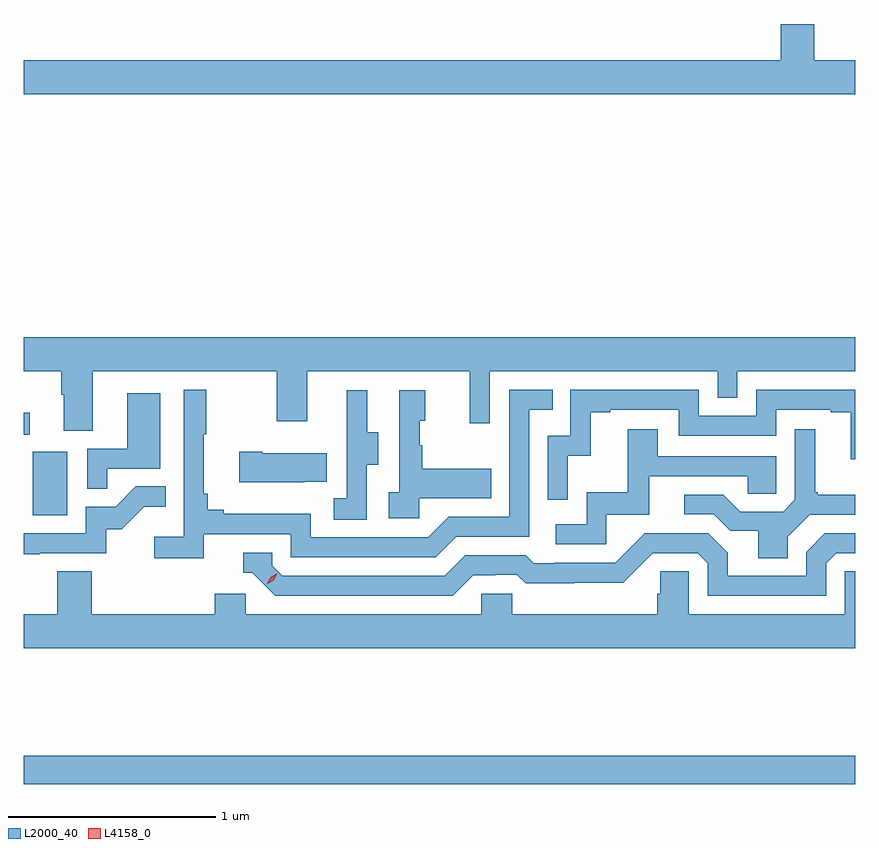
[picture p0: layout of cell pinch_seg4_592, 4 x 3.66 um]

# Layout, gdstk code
import gdstk
lib = gdstk.Library(unit=1e-6, precision=1e-09)
def R(c, l, rs):  # rectangles x0, y0, x1, y1
    for r in rs: c.add(gdstk.rectangle(r[:2], r[2:], *l))
def P(c, l, *ps):  # polygons
    for p in ps: c.add(gdstk.Polygon(p, *l))
L2000_40 = (2000, 40)
L4158_0 = (4158, 0)

pinch_seg4_592 = lib.new_cell('pinch_seg4_592')
R(pinch_seg4_592, L2000_40, [(1065.263,780.184,1069.263,780.32), (1065.308,781.476,1065.472,781.783), (1065.263,781.863,1065.292,781.969)])
P(pinch_seg4_592, L2000_40, [(1069.263,783.664),(1069.065,783.664),(1069.065,783.839),(1068.905,783.839),(1068.905,783.664),(1065.263,783.664),(1065.263,783.5),(1069.263,783.5)],
  [(1065.595,782.168),(1066.48,782.168),(1066.48,781.929),(1066.627,781.929),(1066.627,782.168),(1067.408,782.168),(1067.408,781.92),(1067.505,781.92),(1067.505,782.168),(1068.6,782.168),(1068.6,782.041),(1068.696,782.041),(1068.696,782.168),(1069.263,782.168),(1069.263,782.332),(1065.263,782.332),(1065.263,782.168),(1065.443,782.168),(1065.443,782.056),(1065.455,782.056),(1065.455,781.882),(1065.595,781.882)],
  [(1066.13,781.386),(1066.548,781.386),(1066.548,781.275),(1067.245,781.275),(1067.344,781.374),(1067.694,781.374),(1067.694,781.983),(1067.807,781.983),(1067.807,782.079),(1067.598,782.079),(1067.598,781.47),(1067.307,781.47),(1067.208,781.371),(1066.644,781.371),(1066.644,781.483),(1066.225,781.483),(1066.225,781.502),(1066.148,781.502),(1066.148,781.579),(1066.129,781.579),(1066.129,781.867),(1066.141,781.867),(1066.141,782.08),(1066.032,782.08),(1066.032,781.372),(1065.891,781.372),(1065.891,781.27),(1066.13,781.27)],
  [(1067.88,781.763),(1067.99,781.763),(1067.99,781.971),(1068.085,781.971),(1068.085,781.983),(1068.414,781.983),(1068.414,781.86),(1068.882,781.86),(1068.882,781.983),(1069.145,781.983),(1069.145,781.971),(1069.241,781.971),(1069.241,781.745),(1069.263,781.745),(1069.263,782.079),(1068.786,782.079),(1068.786,781.956),(1068.51,781.956),(1068.51,782.079),(1067.892,782.079),(1067.892,781.86),(1067.784,781.86),(1067.784,781.551),(1067.88,781.551)],
  [(1066.914,781.72),(1066.969,781.72),(1066.969,781.875),(1066.915,781.875),(1066.915,782.077),(1066.817,782.077),(1066.817,781.863),(1066.818,781.863),(1066.818,781.559),(1066.755,781.559),(1066.755,781.456),(1066.914,781.456)],
  [(1067.166,781.559),(1067.513,781.559),(1067.513,781.699),(1067.179,781.699),(1067.179,781.814),(1067.169,781.814),(1067.169,781.932),(1067.194,781.932),(1067.194,782.077),(1067.07,782.077),(1067.07,781.586),(1067.019,781.586),(1067.019,781.461),(1067.166,781.461)],
  [(1065.665,781.701),(1065.919,781.701),(1065.919,782.062),(1065.761,782.062),(1065.761,781.797),(1065.57,781.797),(1065.57,781.603),(1065.665,781.603)],
  [(1068.066,781.479),(1068.271,781.479),(1068.271,781.665),(1068.745,781.665),(1068.745,781.581),(1068.882,781.581),(1068.882,781.761),(1068.313,781.761),(1068.313,781.891),(1068.169,781.891),(1068.169,781.588),(1067.97,781.588),(1067.97,781.434),(1067.823,781.434),(1067.823,781.338),(1068.066,781.338)],
  [(1068.937,781.372),(1069.044,781.479),(1069.263,781.479),(1069.263,781.576),(1069.081,781.576),(1069.081,781.588),(1069.069,781.588),(1069.069,781.891),(1068.972,781.891),(1068.972,781.551),(1068.915,781.494),(1068.709,781.494),(1068.628,781.575),(1068.441,781.575),(1068.441,781.482),(1068.582,781.482),(1068.662,781.402),(1068.797,781.402),(1068.797,781.27),(1068.937,781.27)],
  [(1066.613,781.637),(1066.721,781.637),(1066.721,781.774),(1066.411,781.774),(1066.411,781.782),(1066.299,781.782),(1066.299,781.634),(1066.613,781.634)],
  [(1065.341,781.293),(1065.66,781.293),(1065.66,781.41),(1065.736,781.41),(1065.843,781.517),(1065.947,781.517),(1065.947,781.616),(1065.803,781.616),(1065.705,781.518),(1065.561,781.518),(1065.561,781.389),(1065.263,781.389),(1065.263,781.288),(1065.341,781.288)],
  [(1067.425,781.188),(1067.532,781.188),(1067.532,781.191),(1067.635,781.191),(1067.677,781.149),(1067.91,781.149),(1067.91,781.151),(1068.146,781.151),(1068.288,781.293),(1068.504,781.293),(1068.552,781.245),(1068.552,781.089),(1069.122,781.089),(1069.122,781.245),(1069.17,781.293),(1069.263,781.293),(1069.263,781.389),(1069.116,781.389),(1069.026,781.299),(1069.026,781.185),(1068.649,781.185),(1068.649,781.295),(1068.555,781.389),(1068.249,781.389),(1068.108,781.248),(1067.815,781.248),(1067.815,781.245),(1067.716,781.245),(1067.677,781.284),(1067.388,781.284),(1067.289,781.185),(1066.506,781.185),(1066.458,781.233),(1066.458,781.296),(1066.319,781.296),(1066.319,781.2),(1066.362,781.2),(1066.473,781.089),(1067.326,781.089)],
  [(1069.263,781.208),(1069.212,781.208),(1069.212,781),(1068.462,781),(1068.462,781.208),(1068.325,781.208),(1068.325,781.098),(1068.311,781.098),(1068.311,781),(1067.613,781),(1067.613,781.098),(1067.463,781.098),(1067.463,781),(1066.332,781),(1066.332,781.098),(1066.181,781.098),(1066.181,781),(1065.59,781),(1065.59,781.208),(1065.425,781.208),(1065.425,781),(1065.263,781),(1065.263,780.836),(1069.263,780.836)])
P(pinch_seg4_592, L4158_0, [(1066.435,781.146),(1066.435,781.147),(1066.452,781.179),(1066.483,781.198),(1066.483,781.198),(1066.483,781.198),(1066.466,781.165),(1066.436,781.146)])

lib.write_gds('pinch_seg4_592.gds')
